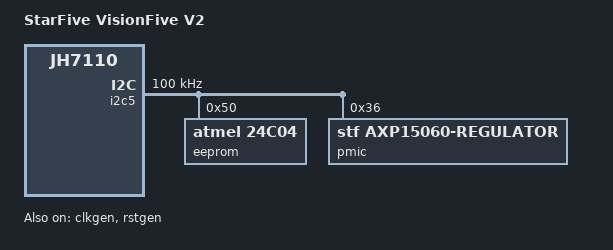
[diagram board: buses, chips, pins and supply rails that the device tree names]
/dts-v1/;

/*
 * The PMIC's I2C bus **as radon's own U-Boot describes it** (milestone 592
 * (radon's cold reboot dies in OpenSBI's PMIC write), provisional). NOT a
 * dump from the board: transcribed 2026-09-25 from the U-Boot commit the VisionFive 2 SDK tag
 * VF2_v2.10.4 pins (starfive-tech/u-boot 1539c1fb5a49), which is the "U-Boot SPL 2021.10 (Feb 12
 * 2023)" radon prints. arch/riscv/dts/jh7110.dtsi gives the bus, starfive_visionfive2.dts the PMIC.
 * radon's boot.scr hands the kernel this same control tree (`fdt move ${fdtcontroladdr}`), and
 * SPL hands it to OpenSBI.
 *
 * What this fixture exists to hold:
 * - the bus node is `i2c@12050000`, not `i2c5@...`, so radon's OpenSBI (which takes the index from
 *   `name[3] - '0'`) computes index 16 and ungates the wrong clock word;
 * - `clocks` names the virtual `JH7110_I2C5_CLK_CORE` (298) before the real gate (143), and the
 *   plan must skip the first rather than write word 0x4a8;
 * - `resets` names `RSTN_U5_DW_I2C_APB` (81) from the separate `rstgen` node.
 *
 * Numbers are written out because the vendor headers are not vendored here:
 * JH7110_I2C5_CLK_CORE 298, JH7110_I2C5_CLK_APB 143, RSTN_U5_DW_I2C_APB 81.
 *
 * Regenerate with:
 *
 *     dtc -I dts -O dtb -o crates/machine_discovery/tests/fixtures/jh7110-pmic-bus-radon.dtb \
 *                          crates/machine_discovery/tests/fixtures/jh7110-pmic-bus-radon.dts
 */

/ {
	#address-cells = <2>;
	#size-cells = <2>;
	compatible = "starfive,visionfive-v2", "starfive,jh7110";
	model = "StarFive VisionFive V2";

	soc {
		compatible = "simple-bus";
		#address-cells = <2>;
		#size-cells = <2>;
		ranges;

		i2c5: i2c@12050000 {
			compatible = "snps,designware-i2c";
			reg = <0x0 0x12050000 0x0 0x10000>;
			clocks = <&clkgen 298>, <&clkgen 143>;
			clock-names = "ref", "pclk";
			resets = <&rstgen 81>;
			interrupts = <50>;
			#address-cells = <1>;
			#size-cells = <0>;
			clock-frequency = <100000>;
			status = "okay";

			eeprom@50 {
				compatible = "atmel,24c04";
				reg = <0x50>;
				pagesize = <16>;
			};

			pmic: axp15060_reg@36 {
				compatible = "stf,axp15060-regulator";
				reg = <0x36>;
			};
		};

		clkgen: clock-controller {
			compatible = "starfive,jh7110-clkgen";
			reg = <0x0 0x13020000 0x0 0x10000>,
			      <0x0 0x10230000 0x0 0x10000>,
			      <0x0 0x17000000 0x0 0x10000>;
			reg-names = "sys", "stg", "aon";
			#clock-cells = <1>;
			status = "okay";
		};

		rstgen: reset-controller {
			compatible = "starfive,jh7110-reset";
			reg = <0x0 0x13020000 0x0 0x10000>,
			      <0x0 0x10230000 0x0 0x10000>,
			      <0x0 0x17000000 0x0 0x10000>,
			      <0x0 0x19810000 0x0 0x10000>,
			      <0x0 0x295C0000 0x0 0x10000>;
			reg-names = "syscrg", "stgcrg", "aoncrg", "ispcrg", "voutcrg";
			#reset-cells = <1>;
			status = "okay";
		};
	};
};
